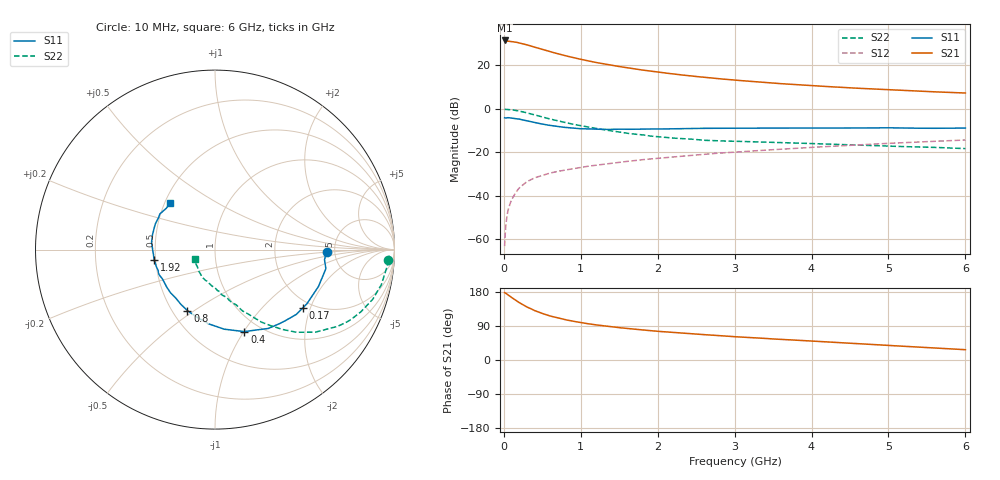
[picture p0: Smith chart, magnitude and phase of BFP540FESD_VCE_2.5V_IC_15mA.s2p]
! Infineon Technologies  Discrete & RF Semiconductors
! BFP540FESD
! VCE =  2.5 V,  IC =  15 mA
! Common Emitter S-Parameters:  Nov 2015
# GHz  S  MA  R  50
!  f  S11  S21  S12  S22
! GHz  MAG  ANG  MAG  ANG  MAG  ANG  MAG  ANG
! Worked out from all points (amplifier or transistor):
!   210 points, 10 MHz to 6 GHz, reference 50 ohm
!   highest |S21| = 31.4 dB at 10 MHz (marker M1)
!   |S21| within 3 dB of that: start of sweep to 393.7 MHz
!   unconditionally stable (mu >= 1): 1.94 GHz to end of sweep
!   at 185 MHz: K = 0.22, MSG = 33.7 dB, |S12| = -37.0 dB
!   at 1.52 GHz: K = 0.92, MSG = 21.9 dB, |S12| = -24.5 dB
!   at 6 GHz: K = 1.19, MAG = 8.2 dB, |S12| = -14.4 dB
!   S11 on the Smith chart (normalised r, x): 10 MHz: 4.29, -0.15; 170 MHz: 1.79, -1.77; 400 MHz: 0.84, -1.01; 800 MHz: 0.60, -0.47; 1.92 GHz: 0.49, -0.06; 6 GHz: 0.54, +0.32
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0.01  0.622 -1.0  37 177.7  0.0007 93.4  0.9632 -3.6
0.02  0.6128 -5.3  35.63 176.8  0.0015 90.9  0.9702 -2.2
0.05  0.6269 -9.8  35.79 172.4  0.0043 85.7  0.9625 -5.9
0.1  0.6121 -19.6  35.02 165.1  0.008 81.0  0.9471 -12.0
0.17  0.587 -33.6  33.4 155.6  0.013 77.3  0.9051 -19.7
0.2  0.5792 -38.6  32.52 151.5  0.0152 75.4  0.8843 -23.0
0.24  0.5572 -45.3  31.22 146.8  0.0174 71.3  0.8543 -26.9
0.3  0.5305 -55.9  29.32 139.9  0.0212 69.2  0.8055 -32.1
0.4  0.4852 -70.3  26.01 130.4  0.0258 64.9  0.7246 -39.4
0.5  0.4464 -83.4  23.11 122.6  0.0296 62.9  0.6468 -45.4
0.6  0.4151 -94.9  20.45 116.2  0.0334 61.0  0.5822 -49.8
0.8  0.3728 -114.4  16.52 106.2  0.0391 58.7  0.4805 -57.3
1.02  0.3467 -130.2  13.43 98.1  0.0454 58.1  0.4029 -62.8
1.2  0.3407 -141.9  11.54 92.6  0.0508 57.8  0.3542 -67.3
1.4  0.3357 -151.4  9.987 87.6  0.0561 57.2  0.3101 -72.3
1.92  0.3438 -170.6  7.261 77.2  0.0708 56.1  0.2351 -83.9
2.02  0.3434 -174.3  6.887 75.4  0.0736 55.8  0.2272 -86.8
2.42  0.3516 176.1  5.692 69.3  0.0844 54.7  0.202 -95.4
3.1  0.358 165.6  4.405 60.4  0.1036 52.0  0.1775 -108.3
4.1  0.3614 155.4  3.315 48.9  0.1328 47.3  0.1567 -122.3
5.1  0.3632 145.6  2.685 37.3  0.1637 40.3  0.1369 -136.3
6  0.3601 133.6  2.298 27.2  0.1915 33.4  0.1217 -155.0
